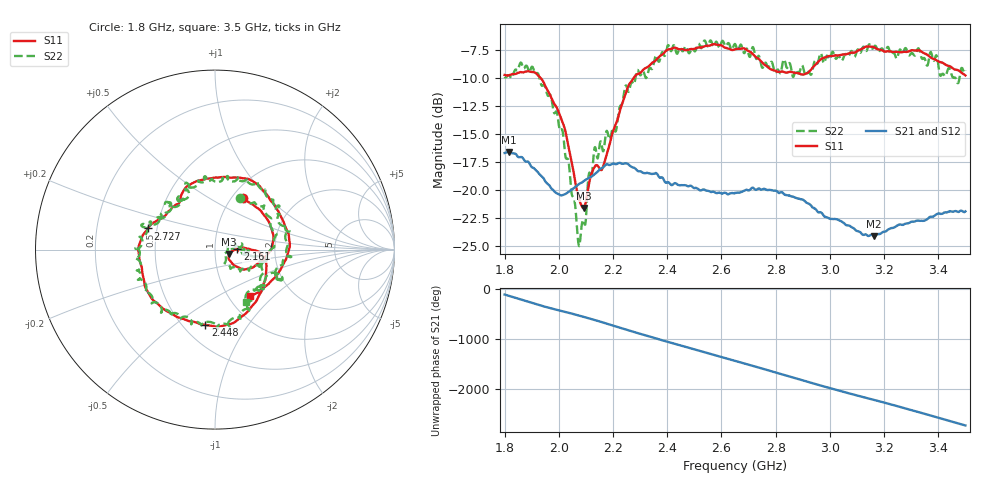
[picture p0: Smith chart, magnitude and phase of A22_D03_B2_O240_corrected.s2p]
! Created with skrf 1.9.0 (http://scikit-rf.org).
# Hz S RI R 50.0
!freq ReS11 ImS11 ReS21 ImS21 ReS12 ImS12 ReS22 ImS22
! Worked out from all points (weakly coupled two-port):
!   1601 points, 1.8 GHz to 3.5 GHz, reference 50 ohm
!   highest |S21| = -16.63 dB at 1.817 GHz (marker M1); lowest = -24.2 dB at 3.162 GHz (marker M2)
!   lowest |S11| = -21.7 dB at 2.091 GHz (marker M3), VSWR 1.18, Z = 58.5 - j2.84 ohm
!   |S11| at or under -10 dB: 1.932 GHz to 2.277 GHz (345.4 MHz wide, 16.4 % of centre)
!   |S22| runs from -25.1 to -6.7 dB; largest |S21 - S12| = 0.0026
!   S11 on the Smith chart (normalised r, x): 1.8 GHz: 1.12, +0.72; 2.161 GHz: 1.28, +0.01; 2.448 GHz: 0.64, -0.65; 2.727 GHz: 0.45, +0.12; 3.5 GHz: 1.25, -0.72
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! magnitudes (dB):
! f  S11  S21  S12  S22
! 1.8 GHz  -9.8  -16.7  -16.7  -9.9
! 1.817 GHz  -9.8  -16.6  -16.6  -9.8
! 1.903 GHz  -9.5  -18.0  -18.0  -9.0
! 1.968 GHz  -11.6  -19.7  -19.8  -11.5
! 2.015 GHz  -14.0  -20.5  -20.5  -14.9
! 2.072 GHz  -20.6  -19.6  -19.6  -24.8
! 2.084 GHz  -21.4  -19.4  -19.3  -23.3
! 2.091 GHz  -21.7  -19.3  -19.3  -22.7
! 2.13 GHz  -18.0  -18.7  -18.7  -16.5
! 2.161 GHz  -18.1  -18.1  -18.0  -16.4
! 2.259 GHz  -10.6  -17.8  -17.8  -11.2
! 2.367 GHz  -8.2  -18.8  -18.7  -8.6
! 2.448 GHz  -7.5  -19.6  -19.6  -7.4
! 2.65 GHz  -7.5  -20.3  -20.3  -7.0
! 2.727 GHz  -8.2  -20.0  -20.0  -8.2
! 2.934 GHz  -9.2  -21.5  -21.5  -9.6
! 2.966 GHz  -8.4  -22.0  -22.0  -7.8
! 3.162 GHz  -7.3  -24.2  -24.1  -7.3
! 3.217 GHz  -7.7  -23.5  -23.5  -7.4
! 3.376 GHz  -8.3  -22.4  -22.4  -7.9
! 3.469 GHz  -9.3  -21.9  -21.9  -10.4
! 3.5 GHz  -9.8  -21.9  -22.0  -9.3
